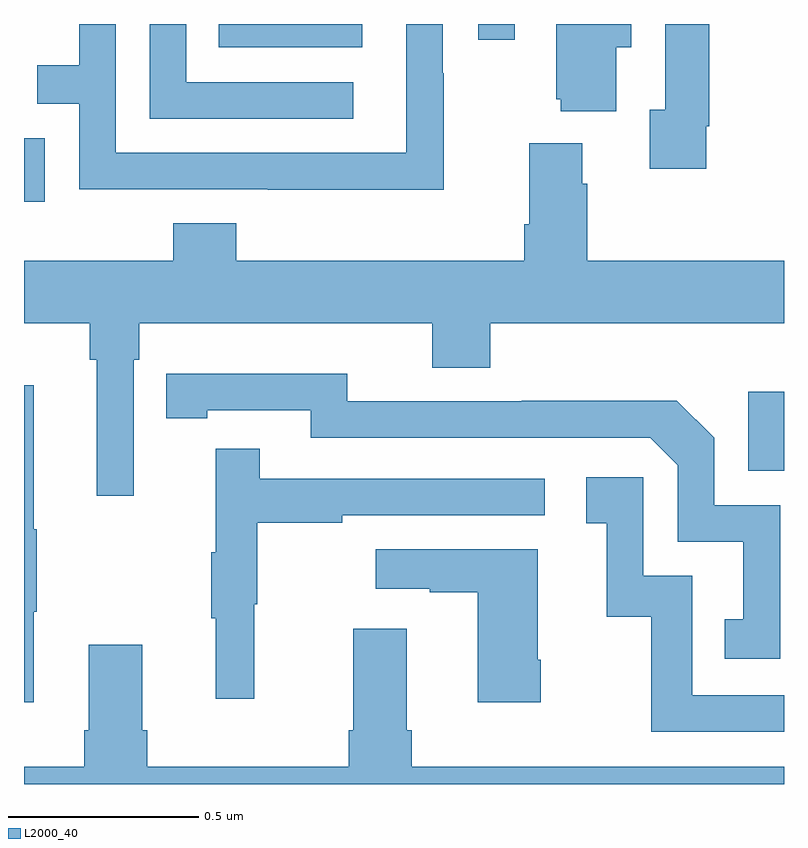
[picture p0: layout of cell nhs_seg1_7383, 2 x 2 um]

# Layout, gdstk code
import gdstk
lib = gdstk.Library(unit=1e-6, precision=1e-09)
def R(c, l, rs):  # rectangles x0, y0, x1, y1
    for r in rs: c.add(gdstk.rectangle(r[:2], r[2:], *l))
def P(c, l, *ps):  # polygons
    for p in ps: c.add(gdstk.Polygon(p, *l))
L2000_40 = (2000, 40)

nhs_seg1_7383 = lib.new_cell('nhs_seg1_7383')
R(nhs_seg1_7383, L2000_40, [(204.906,538.023,205,538.231), (203,538.731,203.055,538.899), (203.512,539.138,203.89,539.199), (204.195,539.157,204.291,539.199)])
P(nhs_seg1_7383, L2000_40, [(204.559,539.138),(204.598,539.138),(204.598,539.199),(204.401,539.199),(204.401,539.001),(204.413,539.001),(204.413,538.97),(204.559,538.97)],
  [(204.796,538.93),(204.803,538.93),(204.803,539.199),(204.687,539.199),(204.687,538.974),(204.647,538.974),(204.647,538.818),(204.796,538.818)],
  [(204.105,539.069),(204.102,539.069),(204.102,539.199),(204.006,539.199),(204.006,538.86),(203.241,538.86),(203.241,539.199),(203.145,539.199),(203.145,539.09),(203.035,539.09),(203.035,538.989),(203.145,538.989),(203.145,538.764),(203.641,538.764),(203.641,538.763),(204.105,538.763)],
  [(203.866,539.046),(203.427,539.046),(203.427,539.199),(203.331,539.199),(203.331,538.95),(203.866,538.95)],
  [(203.289,538.316),(203.303,538.316),(203.303,538.412),(204.074,538.412),(204.074,538.295),(204.227,538.295),(204.227,538.412),(205,538.412),(205,538.576),(204.482,538.576),(204.482,538.778),(204.469,538.778),(204.469,538.885),(204.329,538.885),(204.329,538.672),(204.317,538.672),(204.317,538.576),(203.558,538.576),(203.558,538.675),(203.393,538.675),(203.393,538.576),(203,538.576),(203,538.412),(203.173,538.412),(203.173,538.316),(203.192,538.316),(203.192,537.957),(203.289,537.957)],
  [(204.99,537.933),(204.816,537.933),(204.816,538.11),(204.718,538.208),(204.31,538.208),(204.31,538.206),(203.85,538.206),(203.85,538.279),(203.482,538.279),(203.482,538.278),(203.374,538.278),(203.374,538.162),(203.482,538.162),(203.482,538.182),(203.754,538.182),(203.754,538.11),(204.648,538.11),(204.72,538.038),(204.72,537.837),(204.893,537.837),(204.893,537.633),(204.844,537.633),(204.844,537.528),(204.99,537.528)],
  [(203.026,537.652),(203.034,537.652),(203.034,537.869),(203.026,537.869),(203.026,538.249),(203,538.249),(203,537.414),(203.026,537.414)],
  [(203.606,537.672),(203.614,537.672),(203.614,537.886),(203.837,537.886),(203.837,537.906),(204.37,537.906),(204.37,538.002),(203.621,538.002),(203.621,538.081),(203.504,538.081),(203.504,537.809),(203.493,537.809),(203.493,537.635),(203.504,537.635),(203.504,537.423),(203.606,537.423)],
  [(205,537.432),(204.759,537.432),(204.759,537.747),(204.63,537.747),(204.63,538.006),(204.48,538.006),(204.48,537.885),(204.533,537.885),(204.533,537.639),(204.651,537.639),(204.651,537.336),(205,537.336)],
  [(204.36,537.526),(204.352,537.526),(204.352,537.817),(203.925,537.817),(203.925,537.713),(204.068,537.713),(204.068,537.703),(204.194,537.703),(204.194,537.414),(204.36,537.414)],
  [(205,537.244),(204.02,537.244),(204.02,537.34),(204.007,537.34),(204.007,537.607),(203.867,537.607),(203.867,537.34),(203.855,537.34),(203.855,537.244),(203.324,537.244),(203.324,537.34),(203.311,537.34),(203.311,537.565),(203.171,537.565),(203.171,537.34),(203.159,537.34),(203.159,537.244),(203,537.244),(203,537.199),(205,537.199)])

lib.write_gds('nhs_seg1_7383.gds')
